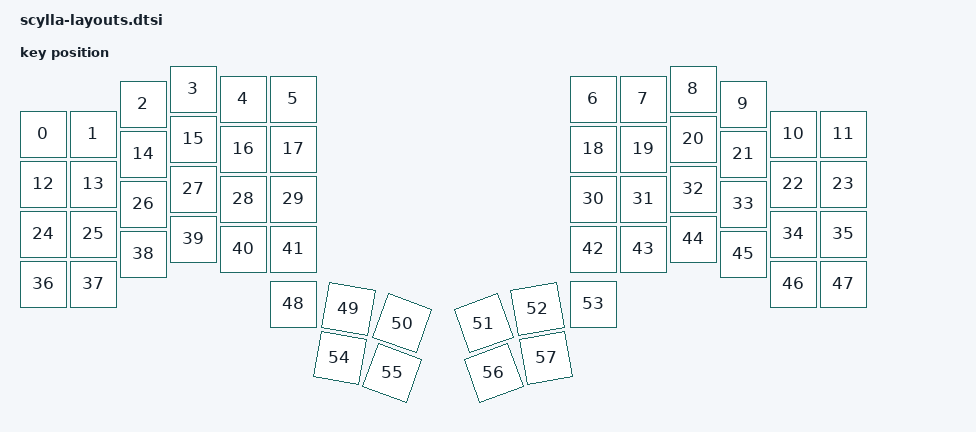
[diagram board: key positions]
#include <physical_layouts.dtsi>

/ {

    physical_layout0: physical_layout_0 {
        compatible = "zmk,physical-layout";
        display-name = "Scylla 4x6+5";
        transform = <&default_transform>;
        keys  //                     w   h    x    y     rot    rx    ry
            = <&key_physical_attrs 100 100    0   90       0     0     0>
            , <&key_physical_attrs 100 100  100   90       0     0     0>
            , <&key_physical_attrs 100 100  200   30       0     0     0>
            , <&key_physical_attrs 100 100  300    0       0     0     0>
            , <&key_physical_attrs 100 100  400   20       0     0     0>
            , <&key_physical_attrs 100 100  500   20       0     0     0>
            , <&key_physical_attrs 100 100 1100   20       0     0     0>
            , <&key_physical_attrs 100 100 1200   20       0     0     0>
            , <&key_physical_attrs 100 100 1300    0       0     0     0>
            , <&key_physical_attrs 100 100 1400   30       0     0     0>
            , <&key_physical_attrs 100 100 1500   90       0     0     0>
            , <&key_physical_attrs 100 100 1600   90       0     0     0>
            , <&key_physical_attrs 100 100    0  190       0     0     0>
            , <&key_physical_attrs 100 100  100  190       0     0     0>
            , <&key_physical_attrs 100 100  200  130       0     0     0>
            , <&key_physical_attrs 100 100  300  100       0     0     0>
            , <&key_physical_attrs 100 100  400  120       0     0     0>
            , <&key_physical_attrs 100 100  500  120       0     0     0>
            , <&key_physical_attrs 100 100 1100  120       0     0     0>
            , <&key_physical_attrs 100 100 1200  120       0     0     0>
            , <&key_physical_attrs 100 100 1300  100       0     0     0>
            , <&key_physical_attrs 100 100 1400  130       0     0     0>
            , <&key_physical_attrs 100 100 1500  190       0     0     0>
            , <&key_physical_attrs 100 100 1600  190       0     0     0>
            , <&key_physical_attrs 100 100    0  290       0     0     0>
            , <&key_physical_attrs 100 100  100  290       0     0     0>
            , <&key_physical_attrs 100 100  200  230       0     0     0>
            , <&key_physical_attrs 100 100  300  200       0     0     0>
            , <&key_physical_attrs 100 100  400  220       0     0     0>
            , <&key_physical_attrs 100 100  500  220       0     0     0>
            , <&key_physical_attrs 100 100 1100  220       0     0     0>
            , <&key_physical_attrs 100 100 1200  220       0     0     0>
            , <&key_physical_attrs 100 100 1300  200       0     0     0>
            , <&key_physical_attrs 100 100 1400  230       0     0     0>
            , <&key_physical_attrs 100 100 1500  290       0     0     0>
            , <&key_physical_attrs 100 100 1600  290       0     0     0>
            , <&key_physical_attrs 100 100    0  390       0     0     0>
            , <&key_physical_attrs 100 100  100  390       0     0     0>
            , <&key_physical_attrs 100 100  200  330       0     0     0>
            , <&key_physical_attrs 100 100  300  300       0     0     0>
            , <&key_physical_attrs 100 100  400  320       0     0     0>
            , <&key_physical_attrs 100 100  500  320       0     0     0>
            , <&key_physical_attrs 100 100 1100  320       0     0     0>
            , <&key_physical_attrs 100 100 1200  320       0     0     0>
            , <&key_physical_attrs 100 100 1300  300       0     0     0>
            , <&key_physical_attrs 100 100 1400  330       0     0     0>
            , <&key_physical_attrs 100 100 1500  390       0     0     0>
            , <&key_physical_attrs 100 100 1600  390       0     0     0>
            , <&key_physical_attrs 100 100  500  430       0     0     0>
            , <&key_physical_attrs 100 100  500  430    1000   550  1120>
            , <&key_physical_attrs 100 100  500  430    2000   550  1120>
            , <&key_physical_attrs 100 100 1100  430 (-2000)  1150  1120>
            , <&key_physical_attrs 100 100 1100  430 (-1000)  1150  1120>
            , <&key_physical_attrs 100 100 1100  430       0     0     0>
            , <&key_physical_attrs 100 100  500  530    1000   550  1120>
            , <&key_physical_attrs 100 100  515  530    2000   550  1120>
            , <&key_physical_attrs 100 100 1085  530 (-2000)  1150  1120>
            , <&key_physical_attrs 100 100 1100  530 (-1000)  1150  1120>
            ;
    };
};
